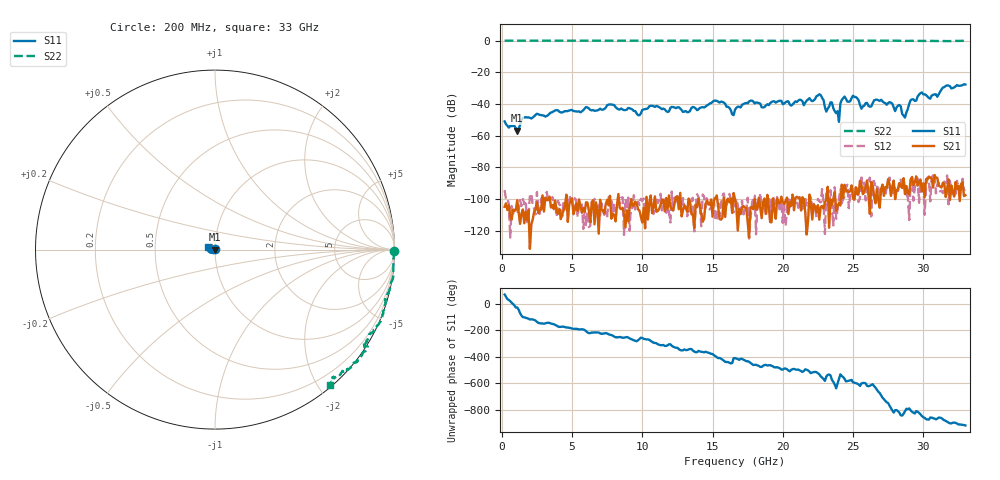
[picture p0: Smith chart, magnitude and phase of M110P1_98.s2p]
# GHZ S RI R 50
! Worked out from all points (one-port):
!   329 points, 200 MHz to 33 GHz, reference 50 ohm
!   lowest |S11| = -56.9 dB at 1.1 GHz (marker M1), VSWR 1.00, Z = 50.1 - j0.0684 ohm
!   |S11| at or under -10 dB: start of sweep to end of sweep
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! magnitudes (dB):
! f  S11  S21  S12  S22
! 200 MHz  -51.0  -105.0  -94.4  0.0
! 1.1 GHz  -56.9  -100.9  -108.9  0.0
! 1.6 GHz  -48.6  -115.4  -103.3  0.0
! 5.7 GHz  -44.7  -108.8  -103.5  0.0
! 11.2 GHz  -42.1  -106.4  -101.2  -0.1
! 13.3 GHz  -45.1  -99.8  -101.4  0.0
! 15.2 GHz  -38.0  -99.4  -113.9  0.0
! 16.6 GHz  -43.6  -100.1  -104.9  0.0
! 22.1 GHz  -38.2  -113.1  -105.8  -0.1
! 22.7 GHz  -34.4  -105.1  -102.2  -0.2
! 23.1 GHz  -44.9  -100.7  -96.6  0.0
! 23.5 GHz  -39.1  -103.7  -106.1  -0.1
! 24 GHz  -51.3  -102.6  -99.9  0.1
! 24.1 GHz  -39.8  -104.1  -93.9  0.1
! 24.4 GHz  -35.3  -91.1  -98.7  0.0
! 25.2 GHz  -35.6  -92.6  -92.9  0.1
! 25.6 GHz  -43.0  -91.2  -86.4  0.1
! 27.6 GHz  -38.9  -90.6  -86.5  0.0
! 28.7 GHz  -48.6  -96.9  -95.5  -0.2
! 29.1 GHz  -37.7  -87.8  -88.9  -0.1
! 29.8 GHz  -33.2  -87.8  -90.1  -0.2
! 33 GHz  -27.8  -97.7  -94.3  -0.1
